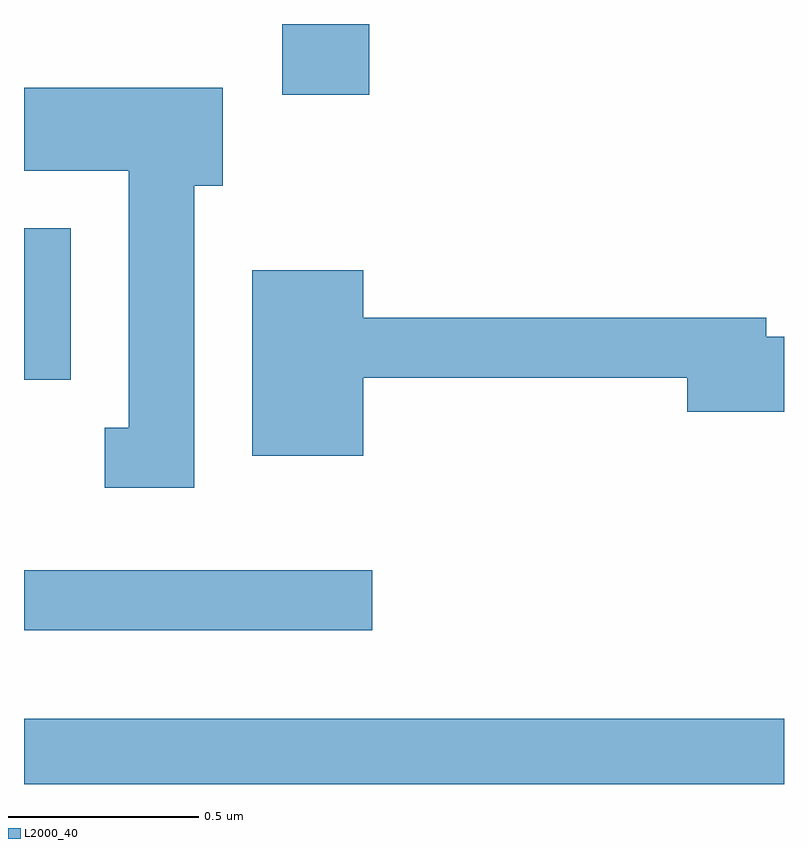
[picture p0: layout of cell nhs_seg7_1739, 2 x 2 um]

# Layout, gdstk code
import gdstk
lib = gdstk.Library(unit=1e-6, precision=1e-09)
def R(c, l, rs):  # rectangles x0, y0, x1, y1
    for r in rs: c.add(gdstk.rectangle(r[:2], r[2:], *l))
def P(c, l, *ps):  # polygons
    for p in ps: c.add(gdstk.Polygon(p, *l))
L2000_40 = (2000, 40)

nhs_seg7_1739 = lib.new_cell('nhs_seg7_1739')
R(nhs_seg7_1739, L2000_40, [(197.611,1763.252,199.611,1763.424), (197.611,1763.656,198.528,1763.814), (197.611,1764.316,197.734,1764.714), (198.291,1765.066,198.519,1765.252)])
P(nhs_seg7_1739, L2000_40, [(198.059,1764.826),(198.134,1764.826),(198.134,1765.084),(197.611,1765.084),(197.611,1764.866),(197.886,1764.866),(197.886,1764.189),(197.823,1764.189),(197.823,1764.031),(198.059,1764.031)],
  [(198.504,1764.321),(199.356,1764.321),(199.356,1764.231),(199.611,1764.231),(199.611,1764.429),(199.564,1764.429),(199.564,1764.479),(198.504,1764.479),(198.504,1764.604),(198.211,1764.604),(198.211,1764.116),(198.504,1764.116)])

lib.write_gds('nhs_seg7_1739.gds')
